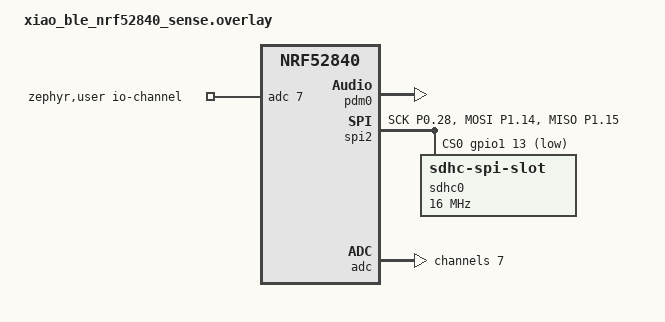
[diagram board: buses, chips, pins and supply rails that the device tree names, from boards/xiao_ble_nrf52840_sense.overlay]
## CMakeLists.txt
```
# SPDX-License-Identifier: Apache-2.0
cmake_minimum_required(VERSION 3.20.0)

find_package(Zephyr REQUIRED HINTS $ENV{ZEPHYR_BASE})
project(mozzy)
enable_language(C ASM)

add_subdirectory(src/lib/opus-1.2.1)

target_sources(app PRIVATE
    src/main.c
    src/led.c
    src/sd.c
    src/ble.c
    src/wr_ble_audio.c
    src/wr_storage_service.c
    src/boot_cmd.c
    src/wr_audio.c
    src/wr_codec.c
    src/wr_recorder.c
    src/wr_battery.c
    src/wr_time_sync.c
    src/wr_rec_control.c
    src/wr_button.c
    src/wr_gain_control.c
    src/wr_led_control.c
)
target_include_directories(app PRIVATE src src/lib/opus-1.2.1)
target_link_libraries(app PRIVATE opus_codec)
```

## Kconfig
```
mainmenu "mojizo firmware"

source "Kconfig.zephyr"

menu "mojizo firmware options"

config WR_DEV_BUILD
	bool "Development build (longer WDT, verbose logs)"
	default y
	help
	  Enable development-friendly defaults: 5-minute watchdog timeout
	  instead of 30 seconds, INFO-level application logs. Disable for
	  production builds.

config WR_WDT_TIMEOUT_MS
	int "Watchdog timeout (ms)"
	default 300000 if WR_DEV_BUILD
	default 30000
	help
	  Timeout in milliseconds for the kernel watchdog. The main loop
	  must call wdt_feed() faster than this or the SoC resets.

config WR_FORCE_FORMAT_SD_ON_BOOT
	bool "Force destructive SD format on boot"
	default n
	help
	  Development/service option. When enabled, the device formats the SD
	  card at boot without waiting for a runtime command.

endmenu
```

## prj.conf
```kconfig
# mojizo firmware bring-up profile
#
# Goals at this stage:
#   1. Board boots
#   2. USB CDC ACM provides /dev/ttyACM0 console
#   3. Green LED blinks
#   4. Wired rescue protocol owns the USB CDC data channel

# --- Logging --------------------------------------------------------------
CONFIG_LOG=y
CONFIG_LOG_MODE_DEFERRED=y
CONFIG_LOG_BUFFER_SIZE=8192
CONFIG_LOG_MODE_OVERFLOW=y
# USB CDC is also used for binary wired rescue. Any Zephyr log emitted on the
# console can corrupt an in-flight recording frame, so keep logs compiled but
# do not attach the UART backend to the rescue channel.
CONFIG_LOG_BACKEND_UART=n
CONFIG_LOG_MAX_LEVEL=2

# --- USB CDC ACM (console) ------------------------------------------------
# Console routed to usb_cdc_acm_uart by xiao_ble_common.dtsi via
# zephyr,console = &usb_cdc_acm_uart.
CONFIG_SERIAL=y
CONFIG_UART_INTERRUPT_DRIVEN=y
CONFIG_UART_LINE_CTRL=y
CONFIG_USB_DEVICE_STACK=y
CONFIG_USB_DEVICE_PRODUCT="mojizo"
CONFIG_USB_DEVICE_VID=0x2FE3
CONFIG_USB_DEVICE_PID=0x0008
# Keep enough CDC buffering for the wired rescue control/data channel while
# leaving RAM for the transfer buffer. Bulk rescue writes are paced by the TX
# interrupt path.
CONFIG_USB_CDC_ACM_RINGBUF_SIZE=8192
# Don't auto-init: we call usb_enable() from main after waiting for DTR
# so output isn't lost.
CONFIG_USB_DEVICE_INITIALIZE_AT_BOOT=n

# --- Reboot + power-off (deep sleep) --------------------------------------
CONFIG_REBOOT=y
# sys_poweroff() -> nRF System OFF for deep sleep; wakes (resets) on the
# button's GPIO sense. ~uA standby.
CONFIG_POWEROFF=y

# --- GPIO -----------------------------------------------------------------
CONFIG_GPIO=y

# --- ADC (battery voltage sense on AIN7 / P0.31) --------------------------
CONFIG_ADC=y

# --- Power management (XIAO BLE Sense onboard QSPI flash uses pm_device) --
CONFIG_PM_DEVICE=y
# Onboard P25Q16H QSPI flash: compile the driver so we can put the chip into
# deep-power-down at boot (main.c). Unused on this product (we store to SD),
# and it draws standby current if left running. ~mA saving.
# NORDIC_QSPI_NOR depends on the flash subsystem, hence CONFIG_FLASH=y.
CONFIG_FLASH=y
CONFIG_NORDIC_QSPI_NOR=y
CONFIG_NORDIC_QSPI_NOR_FLASH_LAYOUT_PAGE_SIZE=4096

# --- Hardware watchdog ----------------------------------------------------
# nRF WDT armed in main(); fed in the main loop. If firmware hangs (the radio
# stops, console dies) the WDT resets the board instead of draining the
# battery flat with the radio stuck on. (omi has this; we previously didn't.)
CONFIG_WATCHDOG=y

# --- printk for early bring-up via printf ---------------------------------
CONFIG_PRINTK=y

# --- PDM microphone + Opus ------------------------------------------------
CONFIG_AUDIO=y
CONFIG_AUDIO_DMIC=y
CONFIG_REGULATOR=y

# --- SD card / SPI / FATFS ------------------------------------------------
# DT overlay (boards/...overlay) wires SPI SD on spi2 with sdhc-spi-slot +
# sdmmc-disk; we just need the subsystems compiled in.
CONFIG_SPI=y
CONFIG_SDHC=y
CONFIG_SPI_SDHC=y
CONFIG_DISK_ACCESS=y
CONFIG_DISK_DRIVER_SDMMC=y
CONFIG_SDMMC_VOLUME_NAME="SD"
CONFIG_SD_INIT_TIMEOUT=5000
CONFIG_SD_RETRY_COUNT=20
CONFIG_SD_CMD_TIMEOUT=500
CONFIG_SD_CMD_RETRIES=5

CONFIG_FILE_SYSTEM=y
CONFIG_FILE_SYSTEM_MKFS=y
CONFIG_FAT_FILESYSTEM_ELM=y
CONFIG_FS_FATFS_MKFS=y
CONFIG_FS_FATFS_MOUNT_MKFS=n
# 128GB SDXC ships exFAT by default — Zephyr's FATFS can mount it when
# CONFIG_FS_FATFS_EXFAT=y is set. Without this, fs_mount returns
# FR_NO_FILESYSTEM on exFAT cards.
CONFIG_FS_FATFS_EXFAT=y
CONFIG_FS_FATFS_LFN=y
CONFIG_FS_FATFS_LFN_MODE_STACK=y
CONFIG_FS_FATFS_MAX_LFN=255
CONFIG_FS_FATFS_REENTRANT=y

# Quiet noisy SD/SDHC debug to WRN — DBG floods the CDC ring on every
# command and starves the log thread within seconds of boot.
CONFIG_SDMMC_LOG_LEVEL_WRN=y
CONFIG_SDHC_LOG_LEVEL_WRN=y
CONFIG_DISK_LOG_LEVEL_WRN=y
CONFIG_SD_LOG_LEVEL_WRN=y

# --- Bluetooth peripheral -------------------------------------------------
CONFIG_BT=y
CONFIG_BT_PERIPHERAL=y
CONFIG_BT_DEVICE_NAME="mojizo"
CONFIG_BT_DEVICE_APPEARANCE=833

# Secure Connections pairing — Windows / Android centrals require this
# during establishment; without it the link tears down at LE Connection
# Complete on most modern hosts.
CONFIG_BT_SMP=y

# Battery + Device Information services (built-in Zephyr GATT services).
CONFIG_BT_BAS=y
CONFIG_BT_DIS=y
CONFIG_BT_DIS_PNP=n
CONFIG_BT_DIS_MANUF="voice-recorder"
CONFIG_BT_DIS_MODEL="xiao-ble-sense"
CONFIG_BT_DIS_FW_REV=y
CONFIG_BT_DIS_FW_REV_STR="0.1.0"

# Larger MTU and ATT TX buffers so audio notifications can carry
# substantial Opus chunks without segmentation overhead.
CONFIG_BT_BUF_ACL_RX_SIZE=251
# TX side too (was missing): without a large ACL TX buffer + controller max
# data length, every notification fragments into 27-byte link packets — the
# real storage-fetch throughput bottleneck. Set both so DLE actually carries
# full ~244-byte payloads per packet.
CONFIG_BT_BUF_ACL_TX_SIZE=251
CONFIG_BT_CTLR_DATA_LENGTH_MAX=251
# More ACL TX buffers => more packets queued per connection event => higher
# storage-fetch throughput (pairs with the deeper notify pipeline).
CONFIG_BT_BUF_ACL_TX_COUNT=10
CONFIG_BT_L2CAP_TX_MTU=247
CONFIG_BT_GATT_AUTO_UPDATE_MTU=y
CONFIG_BT_ATT_TX_COUNT=20
CONFIG_BT_GAP_AUTO_UPDATE_CONN_PARAMS=y

# Peripheral preferred connection params: 7.5 ms / 15 ms / 6 s timeout.
# These match what the omi-fork investigation converged on.
CONFIG_BT_PERIPHERAL_PREF_MIN_INT=6
CONFIG_BT_PERIPHERAL_PREF_MAX_INT=12
CONFIG_BT_PERIPHERAL_PREF_LATENCY=0
CONFIG_BT_PERIPHERAL_PREF_TIMEOUT=600

# Auto Data Length Extension ON (throughput): without DLE a 244-byte ATT
# payload fragments into ~9 × 27-byte link packets, throttling storage-fetch to
# ~12 KB/s. Auto-DLE lets the link carry the full payload per packet (~3-5x).
# PHY auto stays OFF — the old "333 ms drop at establishment" was traced to the
# PHY-update path, and 2M PHY gave no measured gain here, so we leave it manual.
CONFIG_BT_USER_PHY_UPDATE=y
CONFIG_BT_AUTO_PHY_UPDATE=n
CONFIG_BT_AUTO_DATA_LEN_UPDATE=y
```

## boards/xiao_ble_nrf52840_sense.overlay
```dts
/*
 * voice-recorder — XIAO BLE Sense board overlay.
 *
 * Adds external SPI SD card on spi2:
 *   D2  (P0.28) -> SCK
 *   D8  (P1.13) -> CS  (active low, handled via cs-gpios)
 *   D9  (P1.14) -> MOSI
 *   D10 (P1.15) -> MISO
 *   SPI clock 16 MHz.
 *
 * Console / USB CDC ACM mapping inherited from xiao_ble_common.dtsi.
 * PTT button is added in a subsequent commit.
 */

#include <zephyr/dt-bindings/adc/adc.h>
#include <zephyr/dt-bindings/adc/nrf-adc.h>

/ {
	msm261d3526hicpm-c-en {
		regulator-boot-on;
	};
};

dmic_dev: &pdm0 {
	status = "okay";
};

&spi2 {
	status = "okay";
	pinctrl-0 = <&spi2_sd>;
	pinctrl-1 = <&spi2_sd>;
	pinctrl-names = "default", "sleep";
	cs-gpios = <&gpio1 13 GPIO_ACTIVE_LOW>;

	sdhc0: sdhc@0 {
		compatible = "zephyr,sdhc-spi-slot";
		reg = <0>;
		status = "okay";
		spi-max-frequency = <16000000>;
		power-delay-ms = <500>;
		mmc {
			compatible = "zephyr,sdmmc-disk";
			status = "okay";
		};
	};
};

&pinctrl {
	spi2_sd: spi2_sd {
		group1 {
			psels = <NRF_PSEL(SPIM_SCK,  0, 28)>,
				<NRF_PSEL(SPIM_MOSI, 1, 14)>,
				<NRF_PSEL(SPIM_MISO, 1, 15)>;
		};
	};
};

/*
 * Battery voltage sense. XIAO nRF52840 routes the cell through a
 * ~1/3 divider (1 MOhm : 0.51 MOhm) into AIN7 (P0.31). P0.14
 * (READ_BAT_ENABLE) must be held LOW to engage the divider — handled in
 * wr_battery.c. AIN7 / P0.14 are board-internal, no pin conflict.
 */
/ {
	zephyr,user {
		io-channels = <&adc 7>;
	};
};

&adc {
	status = "okay";
	#address-cells = <1>;
	#size-cells = <0>;

	channel@7 {
		reg = <7>;
		zephyr,gain = "ADC_GAIN_1_6";
		zephyr,reference = "ADC_REF_INTERNAL";
		zephyr,acquisition-time = <ADC_ACQ_TIME(ADC_ACQ_TIME_MICROSECONDS, 40)>;
		zephyr,input-positive = <NRF_SAADC_AIN7>;
		zephyr,resolution = <12>;
		zephyr,oversampling = <4>;
	};
};
```

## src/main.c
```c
/* mojizo firmware application entry point.
 *
 * Bring-up profile: blink the green LED, log over USB CDC ACM. Later
 * tasks add SD mount, BLE peripheral, audio capture, recording state
 * machine.
 */
#include <hal/nrf_power.h>
#include <zephyr/kernel.h>
#include <zephyr/logging/log.h>
#include <zephyr/usb/usb_device.h>
#include <zephyr/drivers/uart.h>
#include <zephyr/drivers/watchdog.h>
#include <zephyr/drivers/gpio.h>
#include <zephyr/pm/device.h>
#include <zephyr/device.h>

#include "ble.h"
#include "boot_cmd.h"
#include "led.h"
#include "sd.h"
#include "wr_audio.h"
#include "wr_battery.h"
#include "wr_button.h"
#include "wr_recorder.h"
#include "wr_storage_service.h"

LOG_MODULE_REGISTER(main, LOG_LEVEL_INF);

#define SD_THREAD_STACK_SIZE 4096
#define SD_THREAD_PRIORITY 7

static K_THREAD_STACK_DEFINE(sd_thread_stack, SD_THREAD_STACK_SIZE);
static struct k_thread sd_thread;

/* Hardware watchdog: armed after init, fed in the main loop. If the firmware
 * hangs (radio dies, console goes silent) the WDT resets the SoC instead of
 * leaving it stuck with the radio on, draining the battery flat. */
#define WDT_TIMEOUT_MS 8000
static const struct device *const wdt_dev = DEVICE_DT_GET(DT_NODELABEL(wdt0));
static int wdt_channel = -1;

static void watchdog_arm(void)
{
	if (!device_is_ready(wdt_dev)) {
		LOG_WRN("watchdog device not ready; continuing without WDT");
		return;
	}

	const struct wdt_timeout_cfg cfg = {
		.flags = WDT_FLAG_RESET_SOC,
		.window = {.min = 0U, .max = WDT_TIMEOUT_MS},
		.callback = NULL,
	};

	wdt_channel = wdt_install_timeout(wdt_dev, &cfg);
	if (wdt_channel < 0) {
		LOG_WRN("wdt_install_timeout failed: %d", wdt_channel);
		return;
	}

	const int rc = wdt_setup(wdt_dev, WDT_OPT_PAUSE_HALTED_BY_DBG);
	if (rc < 0) {
		LOG_WRN("wdt_setup failed: %d", rc);
		wdt_channel = -1;
		return;
	}

	LOG_INF("watchdog armed (%d ms)", WDT_TIMEOUT_MS);
}

static void watchdog_feed_now(void)
{
	if (wdt_channel >= 0) {
		(void)wdt_feed(wdt_dev, wdt_channel);
	}
}

/* Battery charge-current select (Seeed XIAO nRF52840, BQ25100 charger).
 * The HICHG pin P0.13 sets the charge current via the BQ25100 R(ISET):
 *   open/high -> 50 mA (board default),  driven LOW -> 100 mA (R(ISET) halved).
 * Driving HIGH would disable charging (0 mA), so we only ever pull it LOW.
 * Held low here so USB charging runs at 100 mA — the small ~250 mAh cell
 * otherwise tops up slowly (the 30 W PD source can't raise this; the cap is
 * on-board). 100 mA into a 250 mAh cell is ~0.4 C, comfortably safe. */
#define CHARGE_HICHG_PORT DT_NODELABEL(gpio0)
#define CHARGE_HICHG_PIN  13U

static void charge_current_set_high(void)
{
	const struct device *port = DEVICE_DT_GET(CHARGE_HICHG_PORT);
	if (!device_is_ready(port)) {
		LOG_WRN("charge-current GPIO not ready; staying at 50 mA");
		return;
	}

	const int rc = gpio_pin_configure(port, CHARGE_HICHG_PIN, GPIO_OUTPUT_LOW);
	if (rc < 0) {
		LOG_WRN("charge-current set failed: %d (staying at 50 mA)", rc);
		return;
	}

	LOG_INF("battery charge current set to 100 mA (P0.13 HICHG low)");
}

/* Low-power setup: enable the DC/DC regulators (more efficient than the LDO)
 * and put the unused onboard QSPI flash into deep-power-down. */
static void power_optimize(void)
{
	/* nRF52840 DC/DC: REG1 (and REG0 for the VDDH stage on XIAO). */
	NRF_POWER->DCDCEN = 1;
	NRF_POWER->DCDCEN0 = 1;

	const struct device *qspi_flash = DEVICE_DT_GET(DT_NODELABEL(p25q16h));
	if (device_is_ready(qspi_flash)) {
		const int rc = pm_device_action_run(qspi_flash,
						    PM_DEVICE_ACTION_SUSPEND);
		if (rc < 0) {
			LOG_WRN("QSPI flash suspend failed: %d", rc);
		} else {
			LOG_INF("QSPI flash suspended (deep power-down)");
		}
	} else {
		LOG_WRN("QSPI flash device not ready; not suspended");
	}
}

static bool take_format_sd_request(void)
{
#if defined(CONFIG_WR_FORCE_FORMAT_SD_ON_BOOT) && CONFIG_WR_FORCE_FORMAT_SD_ON_BOOT
	return true;
#endif

	if (NRF_POWER->GPREGRET != WR_BOOT_FORMAT_SD_MAGIC) {
		return false;
	}

	NRF_POWER->GPREGRET = 0;
	return true;
}

static void run_requested_sd_format(void)
{
	LOG_WRN("Boot-time SD format requested");

	const int rc = wr_sd_format_destructive();
	if (rc < 0) {
		LOG_ERR("Boot-time SD format failed: %d", rc);
		return;
	}

	(void)wr_sd_ls("/SD:");
	(void)wr_sd_selftest();
}

static void sd_worker(void *arg1, void *arg2, void *arg3)
{
	ARG_UNUSED(arg1);
	ARG_UNUSED(arg2);
	ARG_UNUSED(arg3);

	LOG_INF("SD init worker started");
	if (wr_sd_mount() == 0) {
		(void)wr_sd_ls("/SD:");
		(void)wr_sd_selftest();
		if (wr_recorder_start() != 0) {
			LOG_WRN("Recorder failed to start");
		}
		(void)wr_sd_ls("/SD:");
	} else {
		LOG_WRN("SD mount failed - continuing without storage");
	}
}

static int wait_for_dtr(void)
{
	const struct device *uart = DEVICE_DT_GET(DT_CHOSEN(zephyr_console));
	if (!device_is_ready(uart)) {
		return -ENODEV;
	}
	uint32_t dtr = 0;
	/* Wait up to 5 s for a host to assert DTR; otherwise continue
	 * unconnected so the firmware doesn't hang during a power-only
	 * boot (no USB host attached). */
	for (int i = 0; i < 50 && !dtr; i++) {
		(void)uart_line_ctrl_get(uart, UART_LINE_CTRL_DTR, &dtr);
		k_msleep(100);
	}
	return 0;
}

int main(void)
{
	/* Only bring up USB when VBUS is present. On battery (no VBUS) the USB
	 * peripheral + HFCLK would otherwise idle at ~1-3 mA for nothing — we
	 * read battery / measure over BLE, not the console. Console output and
	 * flashing (flash.ps1 sends 'boot' over CDC) require booting WITH USB
	 * attached; plug in then tap RESET to get a console on a battery boot. */
	const bool usb_vbus =
		(NRF_POWER->USBREGSTATUS & POWER_USBREGSTATUS_VBUSDETECT_Msk) != 0U;
	if (usb_vbus) {
		int ret = usb_enable(NULL);
		if (ret) {
			/* USB might already be enabled by another subsystem; that's fine. */
			LOG_WRN("usb_enable returned %d (continuing)", ret);
		}
		(void)wait_for_dtr();
	} else {
		LOG_INF("No VBUS detected — skipping USB enable (battery power save)");
	}

	LOG_INF("=========================================");
	LOG_INF(" mojizo firmware (scratch v0)");
	LOG_INF("=========================================");
	LOG_INF("Build: " __DATE__ " " __TIME__);

	power_optimize();
	charge_current_set_high();

	const bool format_sd_requested = take_format_sd_request();

	if (wr_led_init() != 0) {
		LOG_ERR("LED init failed; halting");
		return 0;
	}

	(void)wr_boot_cmd_init();

	if (wr_button_init() != 0) {
		LOG_WRN("Button init failed — record toggle button disabled");
	}

	if (format_sd_requested) {
		run_requested_sd_format();
	}

	if (wr_ble_init() != 0) {
		LOG_WRN("BLE init failed — continuing without radio");
	}
	wr_storage_service_start();

	if (wr_battery_init() != 0) {
		LOG_WRN("Battery monitor failed to start");
	}

	if (wr_audio_start() != 0) {
		LOG_WRN("Audio pipeline failed to start");
	}

	(void)k_thread_create(&sd_thread, sd_thread_stack,
			      K_THREAD_STACK_SIZEOF(sd_thread_stack),
			      sd_worker, NULL, NULL, NULL,
			      SD_THREAD_PRIORITY, 0, K_NO_WAIT);

	/* Arm the watchdog only after init (SD mount/format can be slow). */
	watchdog_arm();

	uint32_t tick = 0;
	while (1) {
		watchdog_feed_now();
		/* Status indicator: a brief, dim flash every ~5 s.
		 *   recording -> WHITE flash, idle/paused -> GREEN flash. */
		wr_led_dim_flash(wr_recorder_is_recording());
		LOG_DBG("alive tick=%u recording=%d", tick,
			(int)wr_recorder_is_recording());
		tick++;
		k_msleep(wr_led_status_interval_ms());
	}
	return 0;
}
```

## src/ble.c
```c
/* BLE peripheral bring-up.
 *
 * Advertises as "mojizo". Brings up
 * Battery Service (0x180F) and Device Information Service (0x180A);
 * audio + storage services are added by ble_audio.c / ble_storage.c.
 */
#include "ble.h"

#include <zephyr/bluetooth/bluetooth.h>
#include <zephyr/bluetooth/conn.h>
#include <zephyr/bluetooth/gap.h>
#include <zephyr/bluetooth/gatt.h>
#include <zephyr/bluetooth/uuid.h>
#include <zephyr/logging/log.h>

LOG_MODULE_REGISTER(wr_ble, LOG_LEVEL_INF);

static struct bt_conn *current_conn;

static const struct bt_data ad[] = {
	BT_DATA_BYTES(BT_DATA_FLAGS, (BT_LE_AD_GENERAL | BT_LE_AD_NO_BREDR)),
	BT_DATA_BYTES(BT_DATA_UUID16_ALL,
		      BT_UUID_16_ENCODE(BT_UUID_BAS_VAL),
		      BT_UUID_16_ENCODE(BT_UUID_DIS_VAL)),
};

static const struct bt_data sd[] = {
	BT_DATA(BT_DATA_NAME_COMPLETE, CONFIG_BT_DEVICE_NAME,
		sizeof(CONFIG_BT_DEVICE_NAME) - 1),
};

/* Slow connectable advertising (1.0-1.2 s) instead of the default fast
 * 100-150 ms (BT_LE_ADV_CONN). The recorder buffers audio to SD and is
 * fetched periodically over BLE, so it needn't be discoverable within
 * 100 ms; a ~1 s interval cuts the always-on advertising radio current
 * (part of the idle baseline). Discovery just takes a second or two longer. */
static const struct bt_le_adv_param adv_param_slow = BT_LE_ADV_PARAM_INIT(
	BT_LE_ADV_OPT_CONNECTABLE,
	BT_GAP_ADV_SLOW_INT_MIN, BT_GAP_ADV_SLOW_INT_MAX, NULL);

static int start_advertising(void)
{
	return bt_le_adv_start(&adv_param_slow, ad, ARRAY_SIZE(ad),
			       sd, ARRAY_SIZE(sd));
}

static void connected(struct bt_conn *conn, uint8_t err)
{
	char addr[BT_ADDR_LE_STR_LEN];
	bt_addr_le_to_str(bt_conn_get_dst(conn), addr, sizeof(addr));

	if (err) {
		LOG_ERR("Connect failed (err 0x%02x) addr=%s", err, addr);
		return;
	}
	LOG_INF("Connected addr=%s", addr);
	current_conn = bt_conn_ref(conn);
}

static void disconnected(struct bt_conn *conn, uint8_t reason)
{
	LOG_INF("Disconnected (reason 0x%02x)", reason);
	if (current_conn) {
		bt_conn_unref(current_conn);
		current_conn = NULL;
	}

	/* Advertising stops once a central connects; restart it on disconnect
	 * so the device is rediscoverable without a reboot. */
	const int err = start_advertising();
	if (err) {
		LOG_ERR("re-advertise after disconnect failed: %d", err);
	} else {
		LOG_INF("Advertising restarted");
	}
}

static void mtu_updated(struct bt_conn *conn, uint16_t tx, uint16_t rx)
{
	LOG_INF("MTU updated tx=%u rx=%u", tx, rx);
}

BT_CONN_CB_DEFINE(conn_callbacks) = {
	.connected = connected,
	.disconnected = disconnected,
};

static struct bt_gatt_cb gatt_callbacks = {
	.att_mtu_updated = mtu_updated,
};

int wr_ble_init(void)
{
	int err = bt_enable(NULL);
	if (err) {
		LOG_ERR("bt_enable failed: %d", err);
		return err;
	}
	LOG_INF("Bluetooth initialised");

	bt_gatt_cb_register(&gatt_callbacks);

	err = start_advertising();
	if (err) {
		LOG_ERR("bt_le_adv_start failed: %d", err);
		return err;
	}
	LOG_INF("Advertising as '%s'", CONFIG_BT_DEVICE_NAME);
	return 0;
}

bool wr_ble_is_connected(void)
{
	return current_conn != NULL;
}
```

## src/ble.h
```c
#ifndef WR_BLE_H
#define WR_BLE_H

#include <stdbool.h>

/* Initialise BLE peripheral: enable controller, register conn callbacks,
 * start advertising as "mojizo". Battery + DIS run automatically via
 * Kconfig (CONFIG_BT_BAS / CONFIG_BT_DIS).
 *
 * Returns 0 on success, negative errno on failure.
 */
int wr_ble_init(void);

/* Are we currently connected to a central? */
bool wr_ble_is_connected(void);

#endif /* WR_BLE_H */
```

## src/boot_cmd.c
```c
/* USB CDC command listener.
 *
 * Existing commands:
 *   boot       -> enter UF2 bootloader
 *   format-sd  -> reboot into destructive SD formatter
 *
 * Wired rescue commands for the mobile app:
 *   wr-ping
 *   wr-pause
 *   wr-resume
 *   wr-list
 *   wr-fetch <basename.opus_sd> [offset]
 *   wr-bench <bytes>
 *
 * The rescue protocol uses text control lines plus binary chunks with CRC32.
 * The same CDC port is also the Zephyr console, so WR-prefixed control lines
 * let the Android side find protocol boundaries while per-chunk CRC prevents
 * mixed console output from being queued as a valid recording.
 */
#include "boot_cmd.h"

#include <errno.h>
#include <hal/nrf_power.h>
#include <stdarg.h>
#include <stdint.h>
#include <stdio.h>
#include <stdlib.h>
#include <string.h>
#include <zephyr/device.h>
#include <zephyr/devicetree.h>
#include <zephyr/drivers/uart.h>
#include <zephyr/fs/fs.h>
#include <zephyr/kernel.h>
#include <zephyr/logging/log.h>
#include <zephyr/sys/printk.h>
#include <zephyr/sys/reboot.h>

#include "wr_recorder.h"

LOG_MODULE_REGISTER(wr_boot, LOG_LEVEL_INF);

/* DFU_MAGIC_UF2_RESET from Adafruit_nRF52_Bootloader. */
#define ADAFRUIT_UF2_MAGIC 0x57

#define BOOT_RX_BUF_LEN 96
#define BOOT_CMD_QUEUE_DEPTH 4
#define BOOT_CMD_STACK_SIZE 4096
#define BOOT_CMD_PRIORITY 7
#define STORAGE_MOUNT_POINT "/SD:"
#define STORAGE_MAX_FILENAME 63
#define STORAGE_MAX_PATH 80
#define WIRED_IO_BYTES 65536
#define WIRED_FRAME_BYTES (1024U * 1024U)

static char rx_buf[BOOT_RX_BUF_LEN];
static size_t rx_idx;
static const struct device *console_uart;
static bool boot_cmd_thread_started;
static uint8_t wired_fetch_chunk[WIRED_IO_BYTES];
static volatile bool wired_fetch_cancel_requested;
static bool wired_fetch_dtr_seen;
static const uint8_t *wired_tx_data;
static size_t wired_tx_len;
static size_t wired_tx_offset;
static bool wired_tx_irq_usable = true;

K_MSGQ_DEFINE(boot_cmd_queue, BOOT_RX_BUF_LEN, BOOT_CMD_QUEUE_DEPTH, 4);
K_SEM_DEFINE(wired_tx_done, 0, 1);
K_MUTEX_DEFINE(wired_tx_lock);
static K_THREAD_STACK_DEFINE(boot_cmd_stack, BOOT_CMD_STACK_SIZE);
static struct k_thread boot_cmd_thread;

static void uart_send(const uint8_t *data, size_t len)
{
	if (console_uart == NULL) {
		return;
	}
	if (len == 0U) {
		return;
	}
	if (!wired_tx_irq_usable) {
		for (size_t i = 0; i < len; i++) {
			uart_poll_out(console_uart, data[i]);
		}
		return;
	}

	k_mutex_lock(&wired_tx_lock, K_FOREVER);
	k_sem_reset(&wired_tx_done);
	wired_tx_data = data;
	wired_tx_len = len;
	wired_tx_offset = 0U;
	uart_irq_tx_enable(console_uart);
	if (k_sem_take(&wired_tx_done, K_SECONDS(2)) != 0) {
		uart_irq_tx_disable(console_uart);
		wired_tx_irq_usable = false;
		while (wired_tx_offset < wired_tx_len) {
			uart_poll_out(console_uart, wired_tx_data[wired_tx_offset]);
			wired_tx_offset++;
		}
		wired_tx_data = NULL;
		wired_tx_len = 0U;
		wired_tx_offset = 0U;
	}
	k_mutex_unlock(&wired_tx_lock);
}

static void uart_send_str(const char *s)
{
	uart_send((const uint8_t *)s, strlen(s));
}

static void uart_sendf(const char *fmt, ...)
{
	char line[160];
	va_list args;

	va_start(args, fmt);
	const int n = vsnprintk(line, sizeof(line), fmt, args);
	va_end(args);

	if (n <= 0) {
		return;
	}
	uart_send((const uint8_t *)line,
		  n < (int)sizeof(line) ? (size_t)n : sizeof(line));
}

static const uint32_t crc32_nibble_table[16] = {
	0x00000000U, 0x1db71064U, 0x3b6e20c8U, 0x26d930acU,
	0x76dc4190U, 0x6b6b51f4U, 0x4db26158U, 0x5005713cU,
	0xedb88320U, 0xf00f9344U, 0xd6d6a3e8U, 0xcb61b38cU,
	0x9b64c2b0U, 0x86d3d2d4U, 0xa00ae278U, 0xbdbdf21cU,
};

static uint32_t crc32_update(uint32_t crc, const uint8_t *data, size_t len)
{
	for (size_t i = 0; i < len; i++) {
		crc ^= data[i];
		crc = (crc >> 4) ^ crc32_nibble_table[crc & 0x0FU];
		crc = (crc >> 4) ^ crc32_nibble_table[crc & 0x0FU];
	}

	return crc;
}

static uint32_t crc32_finish(uint32_t crc)
{
	return ~crc;
}

static bool wired_fetch_should_cancel(void)
{
	if (wired_fetch_cancel_requested) {
		return true;
	}
	if (console_uart == NULL) {
		return false;
	}

	uint32_t dtr = 0U;
	const int rc = uart_line_ctrl_get(console_uart, UART_LINE_CTRL_DTR, &dtr);
	if (rc < 0) {
		return false;
	}
	if (dtr != 0U) {
		wired_fetch_dtr_seen = true;
		return false;
	}
	return wired_fetch_dtr_seen;
}

static bool filename_allowed(const char *filename)
{
	if (filename == NULL || filename[0] == '\0') {
		return false;
	}
	for (size_t i = 0; filename[i] != '\0'; i++) {
		if (filename[i] == '/' || filename[i] == '\\' ||
		    filename[i] == ':') {
			return false;
		}
	}
	return true;
}

static bool is_audio_file(const char *filename)
{
	const char *suffix = ".opus_sd";
	const size_t name_len = strlen(filename);
	const size_t suffix_len = strlen(suffix);

	return name_len > suffix_len &&
	       strcmp(&filename[name_len - suffix_len], suffix) == 0;
}

static int build_path(char *path, size_t path_size, const char *filename)
{
	if (!filename_allowed(filename) || !is_audio_file(filename)) {
		return -EINVAL;
	}
	const int written = snprintk(path, path_size, STORAGE_MOUNT_POINT "/%s",
				     filename);
	if (written < 0 || written >= (int)path_size) {
		return -ENAMETOOLONG;
	}
	return 0;
}

static void handle_wired_list(void)
{
	struct fs_dir_t dir;
	struct fs_dirent entry;
	uint32_t count = 0;

	fs_dir_t_init(&dir);
	int rc = fs_opendir(&dir, STORAGE_MOUNT_POINT);
	if (rc < 0) {
		uart_sendf("WR-ERR list-open %d\n", rc);
		return;
	}

	uart_send_str("WR-LIST-BEGIN\n");
	for (;;) {
		rc = fs_readdir(&dir, &entry);
		if (rc < 0) {
			uart_sendf("WR-ERR list-read %d\n", rc);
			break;
		}
		if (entry.name[0] == '\0') {
			break;
		}
		if (entry.type == FS_DIR_ENTRY_DIR) {
			continue;
		}
		if (!is_audio_file(entry.name) ||
		    wr_recorder_is_current_file(entry.name)) {
			continue;
		}
		uart_sendf("WR-FILE %s %zu\n", entry.name, entry.size);
		count++;
	}
	(void)fs_closedir(&dir);
	uart_sendf("WR-END %u\n", count);
}

static bool parse_fetch_args(const char *args, char *filename,
			     size_t filename_size, uint32_t *offset)
{
	if (args == NULL || filename == NULL || offset == NULL) {
		return false;
	}

	*offset = 0;
	const char *space = strchr(args, ' ');
	const size_t name_len = space == NULL ? strlen(args) : (size_t)(space - args);
	if (name_len == 0 || name_len >= filename_size) {
		return false;
	}
	memcpy(filename, args, name_len);
	filename[name_len] = '\0';

	if (space == NULL) {
		return true;
	}
	while (*space == ' ') {
		space++;
	}
	if (*space == '\0') {
		return true;
	}

	char *end = NULL;
	const unsigned long parsed = strtoul(space, &end, 10);
	while (end != NULL && *end == ' ') {
		end++;
	}
	if (end == NULL || *end != '\0' || parsed > UINT32_MAX) {
		return false;
	}
	*offset = (uint32_t)parsed;
	return true;
}

static void handle_wired_fetch(const char *filename, uint32_t offset)
{
	char path[STORAGE_MAX_PATH];
	struct fs_file_t file;
	struct fs_dirent entry;
	uint32_t sent = offset;

	int rc = build_path(path, sizeof(path), filename);
	if (rc < 0) {
		uart_sendf("WR-ERR bad-name %d\n", rc);
		return;
	}
	if (wr_recorder_is_current_file(filename)) {
		uart_send_str("WR-ERR active-file\n");
		return;
	}

	rc = fs_stat(path, &entry);
	if (rc < 0) {
		uart_sendf("WR-ERR stat %d\n", rc);
		return;
	}
	if (offset > entry.size) {
		uart_sendf("WR-ERR offset %u %zu\n", offset, entry.size);
		return;
	}

	fs_file_t_init(&file);
	rc = fs_open(&file, path, FS_O_READ);
	if (rc < 0) {
		uart_sendf("WR-ERR open %d\n", rc);
		return;
	}
	if (offset > 0) {
		rc = fs_seek(&file, offset, FS_SEEK_SET);
		if (rc < 0) {
			uart_sendf("WR-ERR seek %d\n", rc);
			(void)fs_close(&file);
			return;
		}
	}

	wired_fetch_cancel_requested = false;
	wired_fetch_dtr_seen = false;
	uart_sendf("WR-FETCH-BEGIN %s %zu binary-stream-crc32 %u %u\n",
		   filename, entry.size, offset, WIRED_FRAME_BYTES);
	while (sent < entry.size) {
		const uint32_t frame_offset = sent;
		uint32_t frame_len = (uint32_t)(entry.size - sent);
		if (frame_len > WIRED_FRAME_BYTES) {
			frame_len = WIRED_FRAME_BYTES;
		}

		if (wired_fetch_should_cancel()) {
			(void)fs_close(&file);
			uart_sendf("WR-CANCELLED %u\n", sent);
			return;
		}
		uart_sendf("WR-DATA2 %u %u\n", frame_offset, frame_len);

		uint32_t frame_sent = 0U;
		uint32_t crc = 0xFFFFFFFFU;
		while (frame_sent < frame_len) {
			size_t want = sizeof(wired_fetch_chunk);
			if ((frame_len - frame_sent) < want) {
				want = frame_len - frame_sent;
			}
			const ssize_t rd = fs_read(&file, wired_fetch_chunk, want);
			if (rd < 0) {
				uart_sendf("\nWR-ERR read %zd\n", rd);
				(void)fs_close(&file);
				return;
			}
			if (rd == 0) {
				uart_sendf("\nWR-ERR short-read %u %u\n",
					   frame_offset, frame_sent);
				(void)fs_close(&file);
				return;
			}
			crc = crc32_update(crc, wired_fetch_chunk, (size_t)rd);
			uart_send(wired_fetch_chunk, (size_t)rd);
			frame_sent += (uint32_t)rd;
			sent += (uint32_t)rd;
		}
		uart_sendf("\nWR-CRC %u %u %08x\n",
			   frame_offset, frame_len, crc32_finish(crc));
	}
	(void)fs_close(&file);
	uart_sendf("WR-END %u\n", sent);
}

static bool parse_read_bench_args(const char *args, char *filename,
				  size_t filename_size, uint32_t *bytes)
{
	if (args == NULL || filename == NULL || bytes == NULL) {
		return false;
	}

	const char *space = strchr(args, ' ');
	const size_t name_len = space == NULL ? strlen(args) : (size_t)(space - args);
	if (name_len == 0 || name_len >= filename_size || space == NULL) {
		return false;
	}
	memcpy(filename, args, name_len);
	filename[name_len] = '\0';
	while (*space == ' ') {
		space++;
	}
	char *end = NULL;
	const unsigned long parsed = strtoul(space, &end, 10);
	while (end != NULL && *end == ' ') {
		end++;
	}
	if (end == NULL || *end != '\0' || parsed == 0 || parsed > UINT32_MAX) {
		return false;
	}
	*bytes = (uint32_t)parsed;
	return true;
}

static void handle_wired_read_bench(const char *filename, uint32_t bytes)
{
	char path[STORAGE_MAX_PATH];
	struct fs_file_t file;
	struct fs_dirent entry;

	int rc = build_path(path, sizeof(path), filename);
	if (rc < 0) {
		uart_sendf("WR-ERR bad-name %d\n", rc);
		return;
	}
	rc = fs_stat(path, &entry);
	if (rc < 0) {
		uart_sendf("WR-ERR stat %d\n", rc);
		return;
	}

	fs_file_t_init(&file);
	rc = fs_open(&file, path, FS_O_READ);
	if (rc < 0) {
		uart_sendf("WR-ERR open %d\n", rc);
		return;
	}

	uint32_t read_total = 0U;
	const int64_t start_ms = k_uptime_get();
	while (read_total < bytes) {
		size_t want = sizeof(wired_fetch_chunk);
		if ((bytes - read_total) < want) {
			want = bytes - read_total;
		}
		const ssize_t rd = fs_read(&file, wired_fetch_chunk, want);
		if (rd < 0) {
			uart_sendf("WR-ERR read %zd\n", rd);
			(void)fs_close(&file);
			return;
		}
		if (rd == 0) {
			break;
		}
		read_total += (uint32_t)rd;
	}
	const uint32_t elapsed_ms = (uint32_t)(k_uptime_get() - start_ms);
	(void)fs_close(&file);
	uart_sendf("WR-READ-BENCH %s %u %u %u\n",
		   filename, read_total, elapsed_ms,
		   (uint32_t)sizeof(wired_fetch_chunk));
}

static void handle_wired_bench(uint32_t bytes)
{
	if (bytes == 0U) {
		uart_send_str("WR-ERR bad-bench-size\n");
		return;
	}

	for (size_t i = 0; i < sizeof(wired_fetch_chunk); i++) {
		wired_fetch_chunk[i] = (uint8_t)(i & 0xFF);
	}

	uart_sendf("WR-BENCH-BEGIN %u binary\n", bytes);
	uint32_t sent = 0;
	while (sent < bytes) {
		size_t n = sizeof(wired_fetch_chunk);
		if ((bytes - sent) < n) {
			n = bytes - sent;
		}
		uart_send(wired_fetch_chunk, n);
		sent += (uint32_t)n;
	}
	uart_sendf("\nWR-BENCH-END %u\n", sent);
}

static void wait_recording_state(bool recording)
{
	for (int i = 0; i < 40; i++) {
		if (wr_recorder_is_recording() == recording) {
			return;
		}
		k_sleep(K_MSEC(50));
	}
}

static void handle_line(const char *line)
{
	if (strcmp(line, "boot") == 0) {
		LOG_INF("'boot' received - entering UF2 bootloader");
		k_sleep(K_MSEC(50));
		NRF_POWER->GPREGRET = ADAFRUIT_UF2_MAGIC;
		sys_reboot(SYS_REBOOT_COLD);
	} else if (strcmp(line, "format-sd") == 0) {
		LOG_WRN("'format-sd' received - rebooting into SD formatter");
		k_sleep(K_MSEC(50));
		NRF_POWER->GPREGRET = WR_BOOT_FORMAT_SD_MAGIC;
		sys_reboot(SYS_REBOOT_COLD);
	} else if (strcmp(line, "wr-ping") == 0) {
		uart_send_str("WR-OK mozzy\n");
	} else if (strcmp(line, "wr-pause") == 0) {
		wr_recorder_pause();
		wait_recording_state(false);
		uart_send_str(wr_recorder_is_recording() ?
			"WR-ERR pause-timeout\n" : "WR-OK paused\n");
	} else if (strcmp(line, "wr-resume") == 0) {
		wr_recorder_resume();
		wait_recording_state(true);
		uart_send_str(wr_recorder_is_recording() ?
			"WR-OK recording\n" : "WR-ERR resume-timeout\n");
	} else if (strcmp(line, "wr-list") == 0) {
		handle_wired_list();
	} else if (strncmp(line, "wr-fetch ", 9) == 0) {
		char filename[BOOT_RX_BUF_LEN];
		uint32_t offset = 0;
		if (!parse_fetch_args(&line[9], filename, sizeof(filename), &offset)) {
			uart_send_str("WR-ERR bad-fetch-args\n");
			return;
		}
		handle_wired_fetch(filename, offset);
	} else if (strncmp(line, "wr-bench ", 9) == 0) {
		char *end = NULL;
		const unsigned long bytes = strtoul(&line[9], &end, 10);
		if (end == &line[9] || *end != '\0' || bytes > UINT32_MAX) {
			uart_send_str("WR-ERR bad-bench-args\n");
			return;
		}
		handle_wired_bench((uint32_t)bytes);
	} else if (strncmp(line, "wr-read-bench ", 14) == 0) {
		char filename[STORAGE_MAX_FILENAME + 1];
		uint32_t bytes = 0U;
		if (!parse_read_bench_args(&line[14], filename,
					   sizeof(filename), &bytes)) {
			uart_send_str("WR-ERR bad-read-bench-args\n");
			return;
		}
		handle_wired_read_bench(filename, bytes);
	}
}

static void boot_cmd_entry(void *arg1, void *arg2, void *arg3)
{
	ARG_UNUSED(arg1);
	ARG_UNUSED(arg2);
	ARG_UNUSED(arg3);

	char line[BOOT_RX_BUF_LEN];
	for (;;) {
		(void)k_msgq_get(&boot_cmd_queue, line, K_FOREVER);
		handle_line(line);
	}
}

static void boot_cmd_uart_cb(const struct device *dev, void *user_data)
{
	ARG_UNUSED(user_data);

	if (!uart_irq_update(dev)) {
		return;
	}

	if (uart_irq_tx_ready(dev) && wired_tx_data != NULL) {
		while (wired_tx_offset < wired_tx_len) {
			const int n = uart_fifo_fill(
				dev,
				&wired_tx_data[wired_tx_offset],
				wired_tx_len - wired_tx_offset);
			if (n <= 0) {
				break;
			}
			wired_tx_offset += (size_t)n;
		}
		if (wired_tx_offset >= wired_tx_len) {
			uart_irq_tx_disable(dev);
			wired_tx_data = NULL;
			wired_tx_len = 0U;
			wired_tx_offset = 0U;
			k_sem_give(&wired_tx_done);
		}
	}

	while (uart_irq_rx_ready(dev)) {
		uint8_t c;

		if (uart_fifo_read(dev, &c, 1) <= 0) {
			break;
		}

		if (c == '\n' || c == '\r') {
			rx_buf[rx_idx] = '\0';
			if (rx_idx > 0U) {
				if (strcmp(rx_buf, "wr-cancel") == 0) {
					wired_fetch_cancel_requested = true;
				} else {
					(void)k_msgq_put(&boot_cmd_queue, rx_buf,
							 K_NO_WAIT);
				}
			}
			rx_idx = 0;
		} else if (c == 0x03) {
			wired_fetch_cancel_requested = true;
			rx_idx = 0;
		} else if (rx_idx < (BOOT_RX_BUF_LEN - 1)) {
			rx_buf[rx_idx++] = (char)c;
		} else {
			rx_idx = 0;
		}
	}
}

int wr_boot_cmd_init(void)
{
	const struct device *console = DEVICE_DT_GET(DT_CHOSEN(zephyr_console));
	if (!device_is_ready(console)) {
		LOG_WRN("console UART not ready; boot-listener inactive");
		return -ENODEV;
	}
	console_uart = console;
	if (!boot_cmd_thread_started) {
		k_thread_create(&boot_cmd_thread, boot_cmd_stack,
				K_THREAD_STACK_SIZEOF(boot_cmd_stack),
				boot_cmd_entry, NULL, NULL, NULL,
				BOOT_CMD_PRIORITY, 0, K_NO_WAIT);
		boot_cmd_thread_started = true;
	}
	int rc = uart_irq_callback_user_data_set(console, boot_cmd_uart_cb, NULL);
	if (rc) {
		LOG_WRN("uart_irq_callback_user_data_set: %d", rc);
		return rc;
	}
	uart_irq_rx_enable(console);
	LOG_INF("USB command listener armed (boot/format-sd/wr-pause/wr-list/wr-fetch)");
	return 0;
}
```

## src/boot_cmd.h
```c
#ifndef WR_BOOT_CMD_H
#define WR_BOOT_CMD_H

#define WR_BOOT_FORMAT_SD_MAGIC 0xA6

/* Initialise the USB CDC console listener.
 *
 * Spawns a thread that reads lines from the console UART (usb_cdc_acm
 * via DT_CHOSEN(zephyr_console)) and, on receiving "boot", sets the
 * GPREGRET magic for the Adafruit UF2 bootloader and resets the SoC.
 * Receiving "format-sd" sets WR_BOOT_FORMAT_SD_MAGIC and resets; main()
 * performs the destructive SD format early in the next boot, before audio
 * capture starts.
 *
 * This lets `flash.ps1` drop the board into UF2 mode without a physical
 * reset double-tap.
 *
 * The same listener also serves the mobile app's wired rescue protocol:
 *   wr-ping
 *   wr-list
 *   wr-fetch <basename.opus_sd>
 * Responses are WR-prefixed text/Base64 lines so the app can ignore ordinary
 * console logs on the shared CDC channel.
 *
 * Returns 0 on success.
 */
int wr_boot_cmd_init(void);

#endif /* WR_BOOT_CMD_H */
```

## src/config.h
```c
#ifndef WR_CONFIG_H
#define WR_CONFIG_H

#ifndef CONFIG_OPUS_MODE_CELT
#define CONFIG_OPUS_MODE_CELT (1 << 0)
#endif
#ifndef CONFIG_OPUS_MODE_SILK
#define CONFIG_OPUS_MODE_SILK (1 << 1)
#endif
#ifndef CONFIG_OPUS_MODE_HYBRID
#define CONFIG_OPUS_MODE_HYBRID (CONFIG_OPUS_MODE_CELT | CONFIG_OPUS_MODE_SILK)
#endif

#define CODEC_OPUS 1
#define CODEC_PACKAGE_SAMPLES 160
#define CODEC_OUTPUT_MAX_BYTES (CODEC_PACKAGE_SAMPLES * 2)
#define CODEC_OPUS_BITRATE 32000
#define CODEC_OPUS_VBR 1
#define CODEC_OPUS_COMPLEXITY 3
#define CONFIG_OPUS_MODE CONFIG_OPUS_MODE_CELT

#endif /* WR_CONFIG_H */
```

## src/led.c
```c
/* Status LED driver — XIAO BLE Sense on-board RGB LEDs (active low).
 *
 *   red   = led0 (P0.26)   green = led1 (P0.30)   blue = led2 (P0.06)
 *
 * Used as a status indicator: a brief, dim flash every few seconds —
 * white while recording, green while idle/paused. Dimming is done in software
 * (low-duty PWM by bit-banging) because the board's hardware PWM is wired to
 * P0.17, not to the LED pins.
 */
#include "led.h"

#include <zephyr/device.h>
#include <zephyr/devicetree.h>
#include <zephyr/drivers/gpio.h>
#include <zephyr/kernel.h>
#include <zephyr/logging/log.h>
#include <zephyr/sys/util.h>

LOG_MODULE_REGISTER(wr_led, LOG_LEVEL_INF);

static const struct gpio_dt_spec led_red =
	GPIO_DT_SPEC_GET(DT_ALIAS(led0), gpios);
static const struct gpio_dt_spec led_green =
	GPIO_DT_SPEC_GET(DT_ALIAS(led1), gpios);
static const struct gpio_dt_spec led_blue =
	GPIO_DT_SPEC_GET(DT_ALIAS(led2), gpios);

/* Breathing fade: software-PWM at FADE_PERIOD_US, duty ramped 0 -> peak -> 0
 * (triangle) over FADE_CYCLES periods (~1 s). Peak brightness = MAX_DUTY%.
 * The short ON pulse busy-waits; the OFF remainder k_sleeps so the CPU idles
 * (keeps the breathing effect cheap on battery). */
#define FADE_CYCLES 200 /* x FADE_PERIOD_US = ~1 s breathing fade */
#define FADE_PERIOD_US 5000
#define FADE_MAX_DUTY_PCT 6
/* Envelope: quick rise over the first ATTACK_FRAC of the fade, then a smooth
 * (eased) decay — a snappy attack with a sine-like tail. */
#define FADE_ATTACK_FRAC 0.20f

#define LED_DEFAULT_INTERVAL_SEC 4U
#define LED_DEFAULT_BRIGHTNESS_PCT FADE_MAX_DUTY_PCT
#define LED_MAX_BRIGHTNESS_PCT 30U

static struct wr_led_settings led_settings = {
	.mode = WR_LED_MODE_BREATHE,
	.brightness_pct = LED_DEFAULT_BRIGHTNESS_PCT,
	.interval_sec = LED_DEFAULT_INTERVAL_SEC,
	.recording_color = WR_LED_COLOR_WHITE,
	.idle_color = WR_LED_COLOR_GREEN,
};

int wr_led_init(void)
{
	if (!gpio_is_ready_dt(&led_red) || !gpio_is_ready_dt(&led_green)) {
		LOG_ERR("LED GPIO not ready");
		return -ENODEV;
	}

	int r = gpio_pin_configure_dt(&led_red, GPIO_OUTPUT_INACTIVE);

	if (r < 0) {
		LOG_ERR("red LED configure: %d", r);
		return r;
	}
	r = gpio_pin_configure_dt(&led_green, GPIO_OUTPUT_INACTIVE);
	if (r < 0) {
		LOG_ERR("green LED configure: %d", r);
		return r;
	}
	r = gpio_pin_configure_dt(&led_blue, GPIO_OUTPUT_INACTIVE);
	if (r < 0) {
		LOG_ERR("blue LED configure: %d", r);
		return r;
	}
	LOG_INF("LED initialised (RGB on P0.26/P0.30/P0.06)");
	return 0;
}

int wr_led_set(bool on)
{
	return gpio_pin_set_dt(&led_green, on ? 1 : 0);
}

int wr_led_toggle(void)
{
	return gpio_pin_toggle_dt(&led_green);
}

void wr_led_red(bool on)
{
	(void)gpio_pin_set_dt(&led_red, on ? 1 : 0);
}

void wr_led_green(bool on)
{
	(void)gpio_pin_set_dt(&led_green, on ? 1 : 0);
}

void wr_led_get_settings(struct wr_led_settings *out)
{
	if (out == NULL) {
		return;
	}
	*out = led_settings;
}

static uint8_t sanitize_color(uint8_t color, uint8_t fallback)
{
	switch (color) {
	case WR_LED_COLOR_GREEN:
	case WR_LED_COLOR_WHITE:
	case WR_LED_COLOR_BLUE:
	case WR_LED_COLOR_RED:
	case WR_LED_COLOR_CYAN:
	case WR_LED_COLOR_AMBER:
	case WR_LED_COLOR_MAGENTA:
		return color;
	default:
		return fallback;
	}
}

void wr_led_apply_settings(uint8_t mode, uint8_t brightness_pct,
			   uint8_t interval_sec, uint8_t recording_color,
			   uint8_t idle_color)
{
	if (mode != WR_LED_MODE_OFF) {
		mode = WR_LED_MODE_BREATHE;
	}
	led_settings.mode = mode;
	led_settings.brightness_pct =
		CLAMP(brightness_pct, 1U, LED_MAX_BRIGHTNESS_PCT);
	led_settings.interval_sec = CLAMP(interval_sec, 1U, 10U);
	led_settings.recording_color =
		sanitize_color(recording_color, WR_LED_COLOR_WHITE);
	led_settings.idle_color = sanitize_color(idle_color, WR_LED_COLOR_GREEN);
	LOG_INF("LED settings: mode=%u brightness=%u%% interval=%us rec=%u idle=%u",
		(unsigned int)led_settings.mode,
		(unsigned int)led_settings.brightness_pct,
		(unsigned int)led_settings.interval_sec,
		(unsigned int)led_settings.recording_color,
		(unsigned int)led_settings.idle_color);
}

uint32_t wr_led_status_interval_ms(void)
{
	return (uint32_t)led_settings.interval_sec * 1000U;
}

static void flash_pins(uint8_t color, int on)
{
	const bool red = color == WR_LED_COLOR_WHITE ||
			 color == WR_LED_COLOR_RED ||
			 color == WR_LED_COLOR_AMBER ||
			 color == WR_LED_COLOR_MAGENTA;
	const bool green = color == WR_LED_COLOR_GREEN ||
			   color == WR_LED_COLOR_WHITE ||
			   color == WR_LED_COLOR_CYAN ||
			   color == WR_LED_COLOR_AMBER;
	const bool blue = color == WR_LED_COLOR_WHITE ||
			  color == WR_LED_COLOR_BLUE ||
			  color == WR_LED_COLOR_CYAN ||
			  color == WR_LED_COLOR_MAGENTA;

	(void)gpio_pin_set_dt(&led_red, red ? on : 0);
	(void)gpio_pin_set_dt(&led_green, green ? on : 0);
	(void)gpio_pin_set_dt(&led_blue, blue ? on : 0);
}

void wr_led_dim_flash(bool recording)
{
	const uint8_t color = recording ? led_settings.recording_color :
					  led_settings.idle_color;

	if (led_settings.mode == WR_LED_MODE_OFF) {
		flash_pins(WR_LED_COLOR_WHITE, 0);
		return;
	}

	for (int i = 0; i < FADE_CYCLES; i++) {
		/* Brightness envelope 0..1: quick (linear) rise during the attack,
		 * then a smooth quadratic ease-out decay (sine-like tail). */
		const float t = (float)i / (float)(FADE_CYCLES - 1); /* 0..1 */
		float b;

		if (t < FADE_ATTACK_FRAC) {
			b = t / FADE_ATTACK_FRAC;
		} else {
			const float r = (t - FADE_ATTACK_FRAC) /
					(1.0f - FADE_ATTACK_FRAC);
			const float k = 1.0f - r;

			b = k * k;
		}

		uint32_t on_us = (uint32_t)(b * ((float)led_settings.brightness_pct / 100.0f) *
					    (float)FADE_PERIOD_US);

		if (on_us > FADE_PERIOD_US) {
			on_us = FADE_PERIOD_US;
		}
		if (on_us > 0) {
			flash_pins(color, 1);
			k_busy_wait(on_us);
			flash_pins(color, 0);
		}

		const uint32_t off_us = FADE_PERIOD_US - on_us;

		if (off_us > 0) {
			k_sleep(K_USEC(off_us)); /* idle the CPU between pulses */
		}
	}
	flash_pins(color, 0); /* ensure fully off */
}
```

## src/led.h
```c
#ifndef WR_LED_H
#define WR_LED_H

#include <stdbool.h>
#include <stdint.h>

#define WR_LED_MODE_OFF     0U
#define WR_LED_MODE_BREATHE 1U

#define WR_LED_COLOR_GREEN   1U
#define WR_LED_COLOR_WHITE   2U
#define WR_LED_COLOR_BLUE    3U
#define WR_LED_COLOR_RED     4U
#define WR_LED_COLOR_CYAN    5U
#define WR_LED_COLOR_AMBER   6U
#define WR_LED_COLOR_MAGENTA 7U

struct wr_led_settings {
	uint8_t mode;
	uint8_t brightness_pct;
	uint8_t interval_sec;
	uint8_t recording_color;
	uint8_t idle_color;
};

/* Initialise the status LEDs (red = led0/P0.26, green = led1/P0.30). */
int wr_led_init(void);

/* Drive the GREEN LED on/off / toggle (kept for bring-up compatibility). */
int wr_led_set(bool on);
int wr_led_toggle(void);

/* Drive individual colours. */
void wr_led_red(bool on);
void wr_led_green(bool on);

/* Runtime status-indicator settings controlled by the mobile app.
 * Defaults match the original firmware: breathing enabled, 6% peak duty,
 * 4 second interval. */
void wr_led_get_settings(struct wr_led_settings *out);
void wr_led_apply_settings(uint8_t mode, uint8_t brightness_pct,
			   uint8_t interval_sec, uint8_t recording_color,
			   uint8_t idle_color);
uint32_t wr_led_status_interval_ms(void);

/* A dim, fade-in/out "breathing" pulse used as the status indicator:
 * recording = WHITE (R+G+B), idle/paused = GREEN. Software-PWM; ~1 s breathe
 * (quick rise + eased decay). */
void wr_led_dim_flash(bool recording);

#endif /* WR_LED_H */
```

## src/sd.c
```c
/* SD card / FATFS bring-up.
 *
 * SD card is wired to spi2 via the board overlay (D2 SCK / D8 CS /
 * D9 MOSI / D10 MISO, 1 MHz). FATFS auto-mounts at /SD:.
 *
 * This module exposes:
 *   wr_sd_mount()   — mount the FS at /SD:
 *   wr_sd_ls()      — log directory listing
 *   wr_sd_selftest() — write+read a sample file to verify FS works
 */
#include "sd.h"

#include <ff.h>
#include <string.h>
#include <zephyr/device.h>
#include <zephyr/fs/fs.h>
#include <zephyr/kernel.h>
#include <zephyr/logging/log.h>
#include <zephyr/storage/disk_access.h>

LOG_MODULE_REGISTER(wr_sd, LOG_LEVEL_INF);

#define DISK_DRIVE_NAME  "SD"
#define DISK_MOUNT_PT    "/SD:"
#define DISK_FATFS_PATH  "SD:"
#define SD_INIT_ATTEMPTS 5
#define SD_INIT_RETRY_DELAY_MS 750

static FATFS fat_fs;
static struct fs_mount_t mp = {
	.type = FS_FATFS,
	.fs_data = &fat_fs,
	.mnt_point = DISK_MOUNT_PT,
};

static bool mounted;

int wr_sd_mount(void)
{
	if (mounted) {
		return 0;
	}
	int rc = 0;
	for (uint32_t attempt = 1; attempt <= SD_INIT_ATTEMPTS; attempt++) {
		rc = disk_access_init(DISK_DRIVE_NAME);
		if (rc == 0) {
			break;
		}

		LOG_WRN("disk_access_init(%s) failed: %d (attempt %u/%u)",
			DISK_DRIVE_NAME, rc, attempt, SD_INIT_ATTEMPTS);
		k_msleep(SD_INIT_RETRY_DELAY_MS);
	}
	if (rc) {
		LOG_ERR("disk_access_init(%s) failed after retries: %d",
			DISK_DRIVE_NAME, rc);
		return rc;
	}

	uint64_t blocks = 0, sec_size = 0;
	(void)disk_access_ioctl(DISK_DRIVE_NAME, DISK_IOCTL_GET_SECTOR_COUNT, &blocks);
	(void)disk_access_ioctl(DISK_DRIVE_NAME, DISK_IOCTL_GET_SECTOR_SIZE, &sec_size);
	LOG_INF("SD raw: %llu sectors of %llu bytes (%llu MB)",
		blocks, sec_size, (blocks * sec_size) >> 20);

	rc = fs_mount(&mp);
	if (rc != FR_OK) {
		LOG_ERR("fs_mount(%s) failed: %d", DISK_MOUNT_PT, rc);
		return rc;
	}
	LOG_INF("SD mounted at %s", DISK_MOUNT_PT);
	mounted = true;
	return 0;
}

int wr_sd_ls(const char *path)
{
	struct fs_dir_t dirp;
	struct fs_dirent entry;
	int count = 0;

	fs_dir_t_init(&dirp);
	int rc = fs_opendir(&dirp, path);
	if (rc) {
		LOG_ERR("fs_opendir(%s) failed: %d", path, rc);
		return rc;
	}

	LOG_INF("Listing %s ...", path);
	for (;;) {
		rc = fs_readdir(&dirp, &entry);
		if (rc) {
			LOG_WRN("fs_readdir(%s) stopped after %d entries: %d",
				path, count, rc);
			break;
		}
		if (entry.name[0] == 0) {
			break;
		}
		if (entry.type == FS_DIR_ENTRY_DIR) {
			LOG_INF("  [DIR ] %s", entry.name);
		} else {
			LOG_INF("  [FILE] %s (%zu bytes)", entry.name, entry.size);
		}
		count++;
	}
	fs_closedir(&dirp);
	LOG_INF("  -- %d entries --", count);
	return count;
}

int wr_sd_selftest(void)
{
	const char *path = "/SD:/wr_test.txt";
	const char *payload = "voice-recorder bring-up self-test\n";
	const size_t plen = strlen(payload);
	struct fs_file_t f;
	uint8_t buf[64] = {0};

	fs_file_t_init(&f);

	int rc = fs_open(&f, path, FS_O_CREATE | FS_O_WRITE);
	if (rc) {
		LOG_ERR("selftest: fs_open(write) failed: %d", rc);
		return rc;
	}
	ssize_t wr = fs_write(&f, payload, plen);
	if (wr != (ssize_t)plen) {
		LOG_ERR("selftest: fs_write returned %zd (expected %zu)", wr, plen);
		fs_close(&f);
		return -EIO;
	}
	rc = fs_sync(&f);
	if (rc) {
		LOG_WRN("selftest: fs_sync returned %d", rc);
	}
	rc = fs_close(&f);
	if (rc) {
		LOG_WRN("selftest: fs_close returned %d", rc);
	}

	fs_file_t_init(&f);
	rc = fs_open(&f, path, FS_O_READ);
	if (rc) {
		LOG_ERR("selftest: fs_open(read) failed: %d", rc);
		return rc;
	}
	ssize_t rd = fs_read(&f, buf, sizeof(buf) - 1);
	fs_close(&f);
	if (rd != (ssize_t)plen) {
		LOG_ERR("selftest: fs_read returned %zd (expected %zu)", rd, plen);
		return -EIO;
	}
	if (memcmp(buf, payload, plen) != 0) {
		LOG_ERR("selftest: read content mismatch");
		return -EIO;
	}
	LOG_INF("selftest: write+read OK (%zu bytes round-trip)", plen);
	return 0;
}

int wr_sd_format_destructive(void)
{
	LOG_WRN("Formatting SD card at %s; all files will be erased",
		DISK_MOUNT_PT);

	if (mounted) {
		const int unmount_rc = fs_unmount(&mp);
		if (unmount_rc < 0) {
			LOG_ERR("fs_unmount(%s) failed: %d", DISK_MOUNT_PT,
				unmount_rc);
			return unmount_rc;
		}
		mounted = false;
		memset(&fat_fs, 0, sizeof(fat_fs));
		LOG_INF("SD unmounted for format");
	}

	int rc = disk_access_init(DISK_DRIVE_NAME);
	if (rc < 0) {
		LOG_ERR("disk_access_init(%s) before format failed: %d",
			DISK_DRIVE_NAME, rc);
		return rc;
	}

	MKFS_PARM mkfs_opt = {
		.fmt = FM_FAT32 | FM_SFD,
		.n_fat = 1,
		.align = 0,
		.n_root = CONFIG_FS_FATFS_MAX_ROOT_ENTRIES,
		.au_size = 0,
	};

	rc = fs_mkfs(FS_FATFS, (uintptr_t)DISK_FATFS_PATH, &mkfs_opt, 0);
	if (rc < 0) {
		LOG_ERR("fs_mkfs(%s) failed: %d", DISK_FATFS_PATH, rc);
		return rc;
	}
	LOG_INF("SD format complete");

	memset(&fat_fs, 0, sizeof(fat_fs));
	rc = fs_mount(&mp);
	if (rc < 0) {
		LOG_ERR("fs_mount(%s) after format failed: %d", DISK_MOUNT_PT,
			rc);
		return rc;
	}

	mounted = true;
	LOG_INF("SD remounted at %s after format", DISK_MOUNT_PT);
	return 0;
}
```
